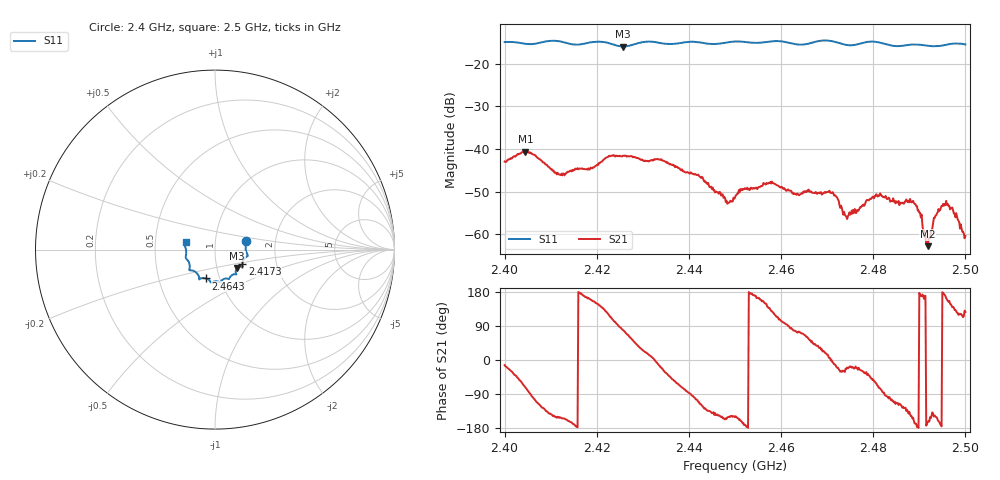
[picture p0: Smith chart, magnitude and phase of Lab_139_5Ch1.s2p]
# Hz S RI R 50
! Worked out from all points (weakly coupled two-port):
!   601 points, 2.4 GHz to 2.5 GHz, reference 50 ohm
!   highest |S21| = -40.60 dB at 2.4045 GHz (marker M1); lowest = -62.8 dB at 2.4918 GHz (marker M2)
!   lowest |S11| = -15.9 dB at 2.4257 GHz (marker M3), VSWR 1.38, Z = 62.5 - j13.1 ohm
!   |S11| at or under -10 dB: start of sweep to end of sweep
!   S12 and S22 are empty: the file has one direction only
!   S11 on the Smith chart (normalised r, x): 2.4 GHz: 1.41, +0.14; 2.4173 GHz: 1.34, -0.23; 2.4643 GHz: 0.86, -0.28; 2.5 GHz: 0.72, +0.06
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2.4e9  0.1733 0.0494  0.00695 -0.00167  0 0  0 0
2.4045e9  0.1708 0.0196  0.00286 -0.00889  0 0  0 0
2.411667e9  0.1815 -0.0359  -0.00444 -0.00257  0 0  0 0
2.416667e9  0.1529 -0.0748  -0.00589 0.000496  0 0  0 0
2.417333e9  0.1521 -0.0821  -0.00571 0.00116  0 0  0 0
2.425667e9  0.1229 -0.1022  0.00155 0.00822  0 0  0 0
2.433333e9  0.1127 -0.1369  0.00741 -0.00152  0 0  0 0
2.4425e9  0.0725 -0.1628  -0.00204 -0.00423  0 0  0 0
2.4485e9  0.0337 -0.176  -0.00204 -0.00115  0 0  0 0
2.45e9  0.0295 -0.1809  -0.00236 -0.0013  0 0  0 0
2.457833e9  -0.0179 -0.1827  -0.00253 0.00303  0 0  0 0
2.464333e9  -0.0498 -0.1606  0.000984 0.00282  0 0  0 0
2.466667e9  -0.0759 -0.1597  0.00199 0.00235  0 0  0 0
2.471e9  -0.0872 -0.1632  0.00307 -4.02e-05  0 0  0 0
2.474e9  -0.0975 -0.1363  0.00152 -0.000648  0 0  0 0
2.480333e9  -0.143 -0.1125  0.00154 -0.00235  0 0  0 0
2.483333e9  -0.1409 -0.0898  -0.000528 -0.00264  0 0  0 0
2.489e9  -0.1626 -0.046  -0.00222 -0.000492  0 0  0 0
2.491833e9  -0.161 -0.0268  -0.000693 -0.000216  0 0  0 0
2.493667e9  -0.1612 -0.00603  -0.00146 -0.000814  0 0  0 0
2.495667e9  -0.1663 0.0162  -0.00216 0.000427  0 0  0 0
2.5e9  -0.1637 0.0423  -0.000575 0.000762  0 0  0 0
